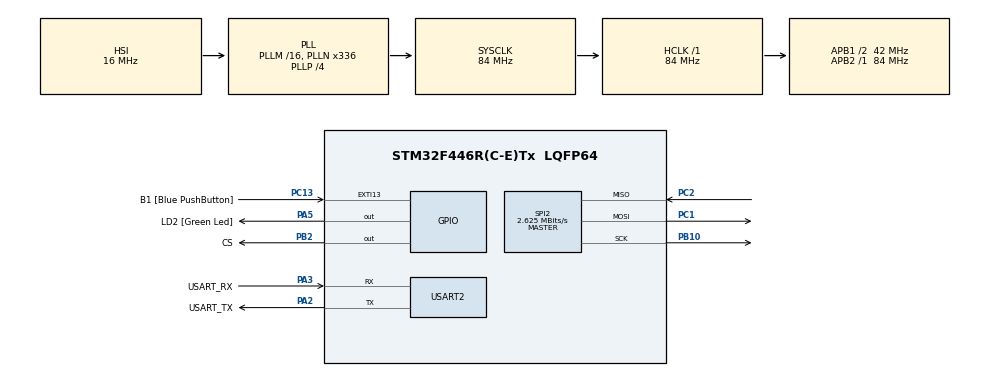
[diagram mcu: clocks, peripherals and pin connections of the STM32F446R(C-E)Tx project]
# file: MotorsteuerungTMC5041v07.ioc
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Mcu.Family=STM32F4
Mcu.Name=STM32F446R(C-E)Tx
Mcu.Package=LQFP64
NVIC.PriorityGroup=NVIC_PRIORITYGROUP_0
NVIC.SPI2_IRQn=true\:0\:0\:false\:false\:true\:true\:true
NVIC.USART2_IRQn=true\:0\:0\:false\:false\:true\:true\:true
PA13.GPIO_Label=TMS
PA13.Mode=Serial_Wire
PA13.Signal=SYS_JTMS-SWDIO
PA14.GPIO_Label=TCK
PA14.Mode=Serial_Wire
PA14.Signal=SYS_JTCK-SWCLK
PA2.GPIO_Label=USART_TX
PA2.Mode=Asynchronous
PA2.Signal=USART2_TX
PA3.GPIO_Label=USART_RX
PA3.Mode=Asynchronous
PA3.Signal=USART2_RX
PA5.GPIO_Label=LD2 [Green Led]
PA5.Signal=GPIO_Output
PB10.Mode=Full_Duplex_Master
PB10.Signal=SPI2_SCK
PB2.GPIO_Label=CS
PB2.Signal=GPIO_Output
PB3.GPIO_Label=SWO
PB3.Signal=SYS_JTDO-SWO
PC1.Mode=Full_Duplex_Master
PC1.Signal=SPI2_MOSI
PC13.GPIO_Label=B1 [Blue PushButton]
PC13.GPIO_ModeDefaultEXTI=GPIO_MODE_IT_FALLING
PC13.Signal=GPXTI13
PC14-OSC32_IN.Mode=LSE-External-Oscillator
PC14-OSC32_IN.Signal=RCC_OSC32_IN
PC15-OSC32_OUT.Mode=LSE-External-Oscillator
PC15-OSC32_OUT.Signal=RCC_OSC32_OUT
PC2.Mode=Full_Duplex_Master
PC2.Signal=SPI2_MISO
PH0-OSC_IN.Mode=HSE-External-Oscillator
PH0-OSC_IN.Signal=RCC_OSC_IN
PH1-OSC_OUT.Mode=HSE-External-Oscillator
PH1-OSC_OUT.Signal=RCC_OSC_OUT
ProjectManager.HeapSize=0x200
ProjectManager.StackSize=0x400
ProjectManager.TargetToolchain=STM32CubeIDE
RCC.48MHZClocksFreq_Value=84000000
RCC.AHBFreq_Value=84000000
RCC.APB1CLKDivider=RCC_HCLK_DIV2
RCC.APB1Freq_Value=42000000
RCC.APB1TimFreq_Value=84000000
RCC.APB2Freq_Value=84000000
RCC.APB2TimFreq_Value=84000000
RCC.CortexFreq_Value=84000000
RCC.FLatency-AdvancedSettings=FLASH_LATENCY_2
RCC.HCLKFreq_Value=84000000
RCC.HSE_VALUE=8000000
RCC.HSI_VALUE=16000000
RCC.PLLN=336
RCC.PLLP=RCC_PLLP_DIV4
RCC.SYSCLKFreq_VALUE=84000000
RCC.SYSCLKSource=RCC_SYSCLKSOURCE_PLLCLK
RCC.USBFreq_Value=168000000
RCC.VCOOutputFreq_Value=336000000
SPI2.BaudRatePrescaler=SPI_BAUDRATEPRESCALER_16
SPI2.CLKPhase=SPI_PHASE_2EDGE
SPI2.CLKPolarity=SPI_POLARITY_HIGH
SPI2.CalculateBaudRate=2.625 MBits/s
SPI2.Direction=SPI_DIRECTION_2LINES
SPI2.Mode=SPI_MODE_MASTER
SPI2.VirtualType=VM_MASTER
USART2.VirtualMode=VM_ASYNC
board=NUCLEO-F446RE

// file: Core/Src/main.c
/* USER CODE BEGIN Header */
/**
 ******************************************************************************
 * @file           : main.c
 * @brief          : Main program body
 ******************************************************************************
 * @attention
 *
 * <h2><center>&copy; Copyright (c) 2020 STMicroelectronics.
 * All rights reserved.</center></h2>
 *
 * This software component is licensed by ST under BSD 3-Clause license,
 * the "License"; You may not use this file except in compliance with the
 * License. You may obtain a copy of the License at:
 *                        opensource.org/licenses/BSD-3-Clause
 *
 ******************************************************************************
 */
/* USER CODE END Header */
#include "main.h"

SPI_HandleTypeDef hspi2;

UART_HandleTypeDef huart2;

void SystemClock_Config(void);
static void MX_GPIO_Init(void);
static void MX_USART2_UART_Init(void);
static void MX_SPI2_Init(void);

/* USER CODE BEGIN 0 */
#define RXLENGTH 9
char *bufftr;
char Rx_data[RXLENGTH];  //  creating a buffer of 10 bytes
int dauerlauf1 = 0;
int dauerlauf2 = 0;

void sendData(uint8_t adresse, uint32_t daten)
{
	//TMC5130 braucht 40 Bit. Davon sind 8 Bit die Adresse und 32 Bit das Datenpaket

// 8 Bit Bspeispiel Hex 0x01 BIN 0000 0001

	uint8_t _adresse = 0;
	uint8_t _paket1 = 0;
	uint8_t _paket2 = 0;
	uint8_t _paket3 = 0;
	uint8_t _paket4 = 0;
	uint8_t paket1, paket2, paket3, paket4;

	HAL_GPIO_WritePin(CS_GPIO_Port, CS_Pin, GPIO_PIN_RESET); // Chip für die Kommunikation vorbereiten

	HAL_SPI_Transmit(&hspi2, (uint8_t*) &adresse, 1, 10); // Adresse wird verschicket und der letzte SPI Status wird empfangen
	HAL_SPI_Receive(&hspi2, (uint8_t*) _adresse, 1, 10);

	paket1 = ((daten >> 24) & 0xff);
	HAL_SPI_Transmit(&hspi2, (uint8_t*) &paket1, 1, 10); // Datenpaket erfolgreich geschreiben mit jeweils 8 Bit SPI.transfer
	HAL_SPI_Receive(&hspi2, (uint8_t*) _paket1, 1, 10);

	paket2 = ((daten >> 16) & 0xff);
	HAL_SPI_Transmit(&hspi2, (uint8_t*) &paket2, 1, 10);
	HAL_SPI_Receive(&hspi2, (uint8_t*) _paket2, 1, 10);

	paket3 = ((daten >> 8) & 0xff);
	HAL_SPI_Transmit(&hspi2, (uint8_t*) &paket3, 1, 10);
	HAL_SPI_Receive(&hspi2, (uint8_t*) _paket3, 1, 10);

	paket4 = (daten & 0xff);
	HAL_SPI_Transmit(&hspi2, (uint8_t*) &paket4, 1, 10);
	HAL_SPI_Receive(&hspi2, (uint8_t*) _paket4, 1, 10);
	// Chip für die Kommunikation wieder freigeben
	//__HAL_SPI_DISABLE(&hspi2);

	HAL_GPIO_WritePin(CS_GPIO_Port, CS_Pin, GPIO_PIN_SET);
	return 0;
}

void HAL_UART_RxCpltCallback(UART_HandleTypeDef *huart)
{
	if (huart->Instance == USART2)
	{
		int pos;
		//char text[RXLENGTH];
		//strcpy(text, Rx_data);
		pos = strcspn(Rx_data, "w");
		char *cmd;
		char *ptr1;
		char *ptr2;
		cmd = strtok(Rx_data, "w");

		ptr1 = strtok(NULL, "w");
		ptr2 = strtok(NULL, "w");

//Datenverarbeitung
		//Motornummer w Programm w Parameter
		//Programm-> 1 Beschleunigung
		//Programm-> 2 Umdrehungen (Positive wie negativ)
		//Programm-> 3 Dauerlauf
		//Programm-> 4 Stop

		//Beispiel-> 1w2w10w
		//Motor 1 soll 10 Umdrehungen machen

		if (atoi(cmd) == 1)
		{		   // Motor 1
			switch (atoi(ptr1))
			{
			case 1:		   // Beschleunigung
				sendData(0xA4, (uint8_t*) atoi(ptr2));		   //A1=1000
				break;
			case 2:		   //Umdrehungen
				// 200 Ganzschritte mal 256 Microschritte = 51200 Schritte pro Umdrehung
				// Fahre x Umdrehungen für Motor 1
				sendData(0xA1, 0x00000000);	// Motor 1 XACTUAL Rücksetzen der Position damit die Umdrehungen stimmen
				sendData(0xAD, (uint32_t*) (atoi(ptr2) * 51200));
				dauerlauf1 = 0;
				break;
			case 3:	//Dauerlauf
				dauerlauf1 = 1;
				sendData(0xAD, 0x00100000);
				break;
			case 4:	//stop
				sendData(0xA1, 0x00000000);	// Motor 1 XACTUAL
				sendData(0xAD, 0x00000000); // Motor 1 XTARGET
				dauerlauf1 = 0;
				break;
			}
		}
		if (atoi(cmd) == 2)
		{ //Motor 2
			switch (atoi(ptr1))
			{
			case 1:		   // Beschleunigung
				sendData(0xC4, (uint8_t*) atoi(ptr2));		   //A1=1000
				break;
			case 2:		   //Umdrehungen
				// 200 Ganzschritte mal 256 Microschritte = 51200 Schritte pro Umdrehung
				// Fahre x Umdrehungen für Motor 2
				sendData(0xC1, 0x00000000);	// Motor 2 XACTUAL Rücksetzen der Position damit die Umdrehungen stimmen
				sendData(0xCD, (uint32_t*) (atoi(ptr2) * 51200));
				dauerlauf2 = 0;
				break;
			case 3:	//Dauerlauf
				dauerlauf2 = 1;
				sendData(0xCD, 0x00100000);
				break;
			case 4:	//stop
				sendData(0xC1, 0x00000000);	// Motor 1 XACTUAL
				sendData(0xCD, 0x00000000); // Motor 1 XTARGET
				dauerlauf2 = 0;
				break;
			}
		}
		HAL_UART_Receive_IT(&huart2, (uint8_t*) Rx_data, RXLENGTH);
	}
}
/* USER CODE END 0 */

int main(void)
{

	/* MCU Configuration--------------------------------------------------------*/

	/* Reset of all peripherals, Initializes the Flash interface and the Systick. */
	HAL_Init();

	/* Configure the system clock */
	SystemClock_Config();

	/* Initialize all configured peripherals */
	MX_GPIO_Init();
	MX_USART2_UART_Init();
	MX_SPI2_Init();
	/* USER CODE BEGIN 2 */
	HAL_UART_Receive_IT(&huart2, (uint8_t*) Rx_data, RXLENGTH);

	__HAL_SPI_ENABLE(&hspi2);
	sendData(0x00, 0x00000000); //GCONF Read

	sendData(0x80, 0x00000000); //GCONF

	sendData(0xA0, 0x00000000); // Motor 1 RAMPMODE=0

	sendData(0xC0, 0x00000000); // Motor 2 RAMPMODE=0

	// Motor 1
	sendData(0xA3, 0x0000010F); // VSTART = 15

	sendData(0xA4, 0x000003E8); //A1=1000

	sendData(0xA5, 0x000186A0); //V1=100000

	sendData(0xA6, 0x00000200); //AMAX=50000

	sendData(0xA7, 0x00DFFFFF); // //VMAX=100000 Geschwindigkeit auf MAX

	sendData(0xA8, 0x0000F550); //DMAX

	sendData(0xAA, 0x0000F578); //D1=1400

	sendData(0xAB, 0x00000020); //VSTOP=32

	sendData(0xAC, 0x0000000A); //TPOWERDOWN=10

	// Motor 2
	sendData(0xC3, 0x0000000F); // VSTART = 15

	sendData(0xC4, 0x00000108); //A1=1000

	sendData(0xC5, 0x000056A0); //V1=100000

	sendData(0xC6, 0x0000C350); //AMAX=50000

	sendData(0xC7, 0x000086A0); //VMAX=100000

	sendData(0xC8, 0x000002BC); //DMAX

	sendData(0xCA, 0x00000578); //D1=1400

	sendData(0xCB, 0x00000020); //VSTOP=32

	sendData(0xCC, 0x0000000A); //TPOWERDOWN=10

	//IHOLD Config                                            delay  irun   ihold
	// unsigned long iholdconfig = 0b 0000 0000 0000 0000 00   0011  11110  00000;
	sendData(0xB0, 0b00000000000000000000111111000011);  	// Motor 1

	sendData(0xD0, 0b00000000000000000000111111000011);  	// Motor 2

	//CHOPPER Config
	//sendData(0xEC,0x000101D5);      //CHOPCONF: TOFF=5, HSTRT=5, HEND=3, TBL=2, CHM=0 (spreadcycle)
	sendData(0xEC, 0b00000000000000001000000000000010);  	// Motor 1

	sendData(0xFC, 0b00000000000000001000000000000010);  	// Motor 2

	// PWM Config                                freewheel    autoscale   pwm_freq    pwm_grad   pwm_amplitude
	//unsigned long pwmconfig = 0b 0000 0000  00     01    0      1          01       11111111   11111111;
	sendData(0x90, 0b00000000001001011111111111111111);  	// PWMCONF Motor 1

	sendData(0x98, 0b00000000001001011111111111111111);  	// PWMCONF Motor 2

	sendData(0xA1, 0x00000000);  	// Motor 1 XACTUAL

	sendData(0xAD, 0x00000000); // Motor 1 XTARGET

	sendData(0xC1, 0x00000000); // Motor 2 XACTUAL

	sendData(0xCD, 0x00000000); // Motor 2 XTARGET

	/* USER CODE END 2 */

	/* Infinite loop */
	/* USER CODE BEGIN WHILE */
	while (1)
	{
		bufftr = "Hello!\n\r";
		HAL_UART_Transmit(&huart2, (uint8_t*) bufftr, 8, 1);
		HAL_Delay(1000);
		if (dauerlauf1 == 1)
		{
			sendData(0xA1, 0x00000000);	// Motor 1 XACTUAL
		}
		if (dauerlauf2 == 1)
		{
			sendData(0xC1, 0x00000000);	// Motor 1 XACTUAL
		}
		/* USER CODE END WHILE */

	}
}

void SystemClock_Config(void)
{
	RCC_OscInitTypeDef RCC_OscInitStruct =
	{ 0 };
	RCC_ClkInitTypeDef RCC_ClkInitStruct =
	{ 0 };

	/** Configure the main internal regulator output voltage
	 */
	__HAL_RCC_PWR_CLK_ENABLE();
	__HAL_PWR_VOLTAGESCALING_CONFIG(PWR_REGULATOR_VOLTAGE_SCALE3);
	/** Initializes the RCC Oscillators according to the specified parameters
	 * in the RCC_OscInitTypeDef structure.
	 */
	RCC_OscInitStruct.OscillatorType = RCC_OSCILLATORTYPE_HSI;
	RCC_OscInitStruct.HSIState = RCC_HSI_ON;
	RCC_OscInitStruct.HSICalibrationValue = RCC_HSICALIBRATION_DEFAULT;
	RCC_OscInitStruct.PLL.PLLState = RCC_PLL_ON;
	RCC_OscInitStruct.PLL.PLLSource = RCC_PLLSOURCE_HSI;
	RCC_OscInitStruct.PLL.PLLM = 16;
	RCC_OscInitStruct.PLL.PLLN = 336;
	RCC_OscInitStruct.PLL.PLLP = RCC_PLLP_DIV4;
	RCC_OscInitStruct.PLL.PLLQ = 2;
	RCC_OscInitStruct.PLL.PLLR = 2;
	if (HAL_RCC_OscConfig(&RCC_OscInitStruct) != HAL_OK)
	{
		Error_Handler();
	}
	/** Initializes the CPU, AHB and APB buses clocks
	 */
	RCC_ClkInitStruct.ClockType = RCC_CLOCKTYPE_HCLK | RCC_CLOCKTYPE_SYSCLK
			| RCC_CLOCKTYPE_PCLK1 | RCC_CLOCKTYPE_PCLK2;
	RCC_ClkInitStruct.SYSCLKSource = RCC_SYSCLKSOURCE_PLLCLK;
	RCC_ClkInitStruct.AHBCLKDivider = RCC_SYSCLK_DIV1;
	RCC_ClkInitStruct.APB1CLKDivider = RCC_HCLK_DIV2;
	RCC_ClkInitStruct.APB2CLKDivider = RCC_HCLK_DIV1;

	if (HAL_RCC_ClockConfig(&RCC_ClkInitStruct, FLASH_LATENCY_2) != HAL_OK)
	{
		Error_Handler();
	}
}

static void MX_SPI2_Init(void)
{

	/* SPI2 parameter configuration*/
	hspi2.Instance = SPI2;
	hspi2.Init.Mode = SPI_MODE_MASTER;
	hspi2.Init.Direction = SPI_DIRECTION_2LINES;
	hspi2.Init.DataSize = SPI_DATASIZE_8BIT;
	hspi2.Init.CLKPolarity = SPI_POLARITY_HIGH;
	hspi2.Init.CLKPhase = SPI_PHASE_2EDGE;
	hspi2.Init.NSS = SPI_NSS_SOFT;
	hspi2.Init.BaudRatePrescaler = SPI_BAUDRATEPRESCALER_16;
	hspi2.Init.FirstBit = SPI_FIRSTBIT_MSB;
	hspi2.Init.TIMode = SPI_TIMODE_DISABLE;
	hspi2.Init.CRCCalculation = SPI_CRCCALCULATION_DISABLE;
	hspi2.Init.CRCPolynomial = 10;
	if (HAL_SPI_Init(&hspi2) != HAL_OK)
	{
		Error_Handler();
	}

}

static void MX_USART2_UART_Init(void)
{

	huart2.Instance = USART2;
	huart2.Init.BaudRate = 115200;
	huart2.Init.WordLength = UART_WORDLENGTH_8B;
	huart2.Init.StopBits = UART_STOPBITS_1;
	huart2.Init.Parity = UART_PARITY_NONE;
	huart2.Init.Mode = UART_MODE_TX_RX;
	huart2.Init.HwFlowCtl = UART_HWCONTROL_NONE;
	huart2.Init.OverSampling = UART_OVERSAMPLING_16;
	if (HAL_UART_Init(&huart2) != HAL_OK)
	{
		Error_Handler();
	}

}

static void MX_GPIO_Init(void)
{
	GPIO_InitTypeDef GPIO_InitStruct =
	{ 0 };

	/* GPIO Ports Clock Enable */
	__HAL_RCC_GPIOC_CLK_ENABLE();
	__HAL_RCC_GPIOH_CLK_ENABLE();
	__HAL_RCC_GPIOA_CLK_ENABLE();
	__HAL_RCC_GPIOB_CLK_ENABLE();

	/*Configure GPIO pin Output Level */
	HAL_GPIO_WritePin(LD2_GPIO_Port, LD2_Pin, GPIO_PIN_RESET);

	/*Configure GPIO pin Output Level */
	HAL_GPIO_WritePin(CS_GPIO_Port, CS_Pin, GPIO_PIN_RESET);

	/*Configure GPIO pin : B1_Pin */
	GPIO_InitStruct.Pin = B1_Pin;
	GPIO_InitStruct.Mode = GPIO_MODE_IT_FALLING;
	GPIO_InitStruct.Pull = GPIO_NOPULL;
	HAL_GPIO_Init(B1_GPIO_Port, &GPIO_InitStruct);

	/*Configure GPIO pin : LD2_Pin */
	GPIO_InitStruct.Pin = LD2_Pin;
	GPIO_InitStruct.Mode = GPIO_MODE_OUTPUT_PP;
	GPIO_InitStruct.Pull = GPIO_NOPULL;
	GPIO_InitStruct.Speed = GPIO_SPEED_FREQ_LOW;
	HAL_GPIO_Init(LD2_GPIO_Port, &GPIO_InitStruct);

	/*Configure GPIO pin : CS_Pin */
	GPIO_InitStruct.Pin = CS_Pin;
	GPIO_InitStruct.Mode = GPIO_MODE_OUTPUT_PP;
	GPIO_InitStruct.Pull = GPIO_NOPULL;
	GPIO_InitStruct.Speed = GPIO_SPEED_FREQ_LOW;
	HAL_GPIO_Init(CS_GPIO_Port, &GPIO_InitStruct);

}

void Error_Handler(void)
{
}

/************************ (C) COPYRIGHT STMicroelectronics *****END OF FILE****/
